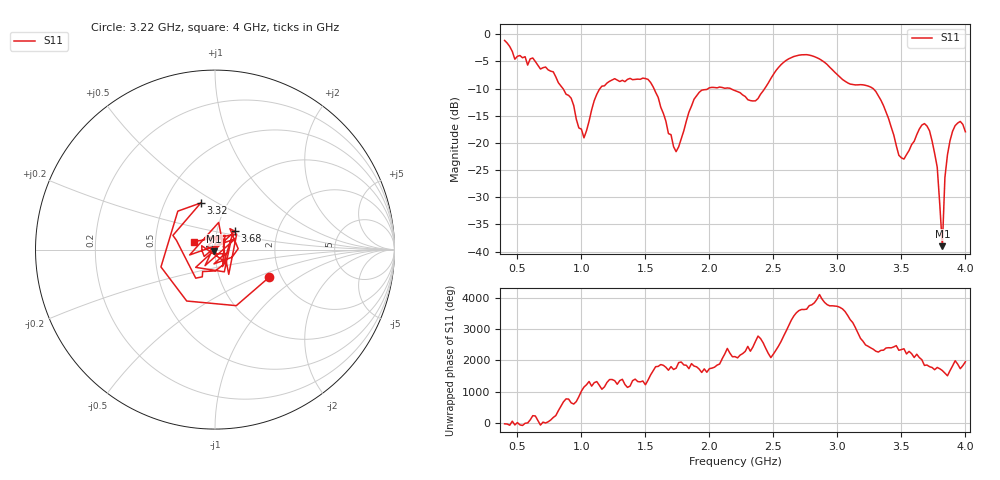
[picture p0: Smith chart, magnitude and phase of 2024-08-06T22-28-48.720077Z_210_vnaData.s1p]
!Created with skrf (http://scikit-rf.org).
# Hz S RI R 50.0
!freq ReS11 ImS11
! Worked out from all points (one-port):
!   181 points, 400 MHz to 4 GHz, reference 50 ohm
!   lowest |S11| = -39.0 dB at 3.82 GHz (marker M1), VSWR 1.02, Z = 49.4 - j0.959 ohm
!   |S11| at or under -10 dB: 856.1 MHz to 1.145 GHz (288.5 MHz wide, 28.8 % of centre); 1.567 GHz to 1.99 GHz (422.8 MHz wide, 23.8 % of centre); 3.28 GHz to end of sweep (the widest 3 of 4)
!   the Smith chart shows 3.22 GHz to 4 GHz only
!   S11 on the Smith chart (normalised r, x): 3.22 GHz: 1.74, -0.60; 3.32 GHz: 0.75, +0.42; 3.68 GHz: 1.22, +0.26; 4 GHz: 0.78, +0.07
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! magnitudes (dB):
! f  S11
! 400 MHz  -1.1
! 480 MHz  -4.6
! 620 MHz  -4.4
! 860 MHz  -10.1
! 1.02 GHz  -19.1
! 1.14 GHz  -10.1
! 1.3 GHz  -8.7
! 1.52 GHz  -8.3
! 1.72 GHz  -20.7
! 1.76 GHz  -20.7
! 1.92 GHz  -10.7
! 2.2 GHz  -10.4
! 2.36 GHz  -12.2
! 2.66 GHz  -4.1
! 2.84 GHz  -4.3
! 3.1 GHz  -9.2
! 3.22 GHz  -9.4
! 3.32 GHz  -11.3
! 3.48 GHz  -22.3
! 3.56 GHz  -21.4
! 3.68 GHz  -16.4
! 3.72 GHz  -17.8
! 3.78 GHz  -24.5
! 3.82 GHz  -39.0
! 3.84 GHz  -26.3
! 3.88 GHz  -19.6
! 3.96 GHz  -16.0
! 4 GHz  -17.9
